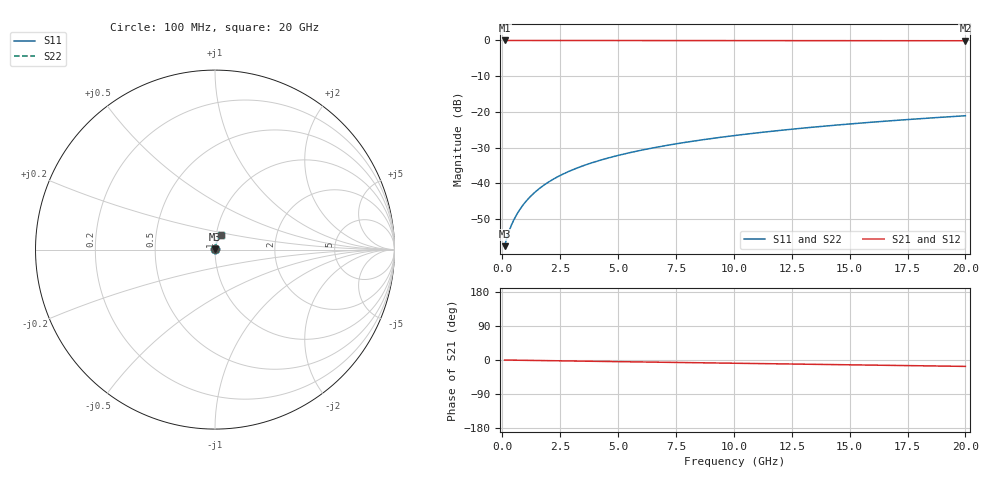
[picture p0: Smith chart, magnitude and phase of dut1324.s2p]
! Touchstone file exported from HFSS 2026.1.0
!  File:  C:/ffzhzh/LocalFiles/Ansys_Project_Files/temp_train_TMRDL_1324_1783165095_18472.aedt
!  Generated:  07:39:24 PM Jul  4, 2026
!  Design:  TMRDL
!  Project:  temp_train_TMRDL_1324_1783165095_18472
! Variables:
!  h_bsmrdl = 2um
!  h_ox = 20um
!  h_rdl = 5um
!  h_sub = 80um
!  h_tmrdl = 5.42um
!  h_tsv = 80um
!  h_via = 3um
!  l_bsmrdl = 300um
!  l_sub = 676.41um
!  l_tmrdl = 276.41um
!  m_sub = 200um
!  pitch = 28.52um
!  r_tsv = 6um
!  s_tmrdl = 10um
!  w_bsmrdl = 18um
!  w_sub = 500um
!  w_tmrdl = 18.24um
!  x_tsv_center1 = 285.53um
!  x_tsv_center2 = 603.53um
!  x_tsv_center3 = 898.18um
!  x_tsv_center4 = 1216.18um
!  x_tsv_center5 = 1510.83um
!  x_tsv_center6 = 1828.83um
# GHz S MA R 50.000000
! Terminal data exported
! Port[1] = TM_RDL1_1_T1
! Port[2] = TM_RDL1_1_T2
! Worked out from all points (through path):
!   200 points, 100 MHz to 20 GHz, reference 50 ohm
!   highest |S21| = -0.01 dB at 100 MHz (marker M1); lowest = -0.1 dB at 20 GHz (marker M2)
!   group delay of S21, straight-line fit = 2.33 ps
!   lowest |S11| = -57.6 dB at 100 MHz (marker M3), VSWR 1.00, Z = 50.1 + j0.0646 ohm
!   |S11| at or under -10 dB: start of sweep to end of sweep
!   |S22| runs from -57.6 to -21.1 dB; largest |S21 - S12| = 4.1e-15
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0.1  0.001314 29.4  0.9989 -0.1  0.9989 -0.1  0.001314 29.4
! Gamma 0 0 0 0
! Port Impedance 50 0 50 0
0.2  0.001737 44.2  0.9988 -0.2  0.9988 -0.2  0.001737 44.2
0.3  0.002178 52.3  0.9987 -0.3  0.9987 -0.3  0.002178 52.3
0.4  0.002621 57.9  0.9986 -0.4  0.9986 -0.4  0.002621 57.9
0.5  0.003073 62.1  0.9986 -0.5  0.9986 -0.5  0.003073 62.1
0.6  0.003536 65.3  0.9985 -0.5  0.9985 -0.5  0.003536 65.3
0.8  0.004488 69.7  0.9985 -0.7  0.9985 -0.7  0.004488 69.7
1  0.005461 72.5  0.9984 -0.9  0.9984 -0.9  0.005461 72.5
1.2  0.006445 74.4  0.9983 -1.1  0.9983 -1.1  0.006445 74.4
1.4  0.007435 75.7  0.9983 -1.2  0.9983 -1.2  0.007435 75.7
1.7  0.00892 77.0  0.9982 -1.5  0.9982 -1.5  0.00892 77.0
2.2  0.01138 78.0  0.9979 -1.9  0.9979 -1.9  0.01138 78.0
2.8  0.01429 78.5  0.9976 -2.5  0.9976 -2.5  0.01429 78.5
3.5  0.01761 78.5  0.9973 -3.1  0.9973 -3.1  0.01761 78.5
4.2  0.02086 78.4  0.9969 -3.7  0.9969 -3.7  0.02086 78.4
5  0.02451 78.1  0.9965 -4.3  0.9965 -4.3  0.02451 78.1
6.8  0.03253 77.2  0.9955 -5.9  0.9955 -5.9  0.03253 77.2
8.3  0.03908 76.4  0.9948 -7.1  0.9948 -7.1  0.03908 76.4
10.1  0.04685 75.4  0.994 -8.6  0.994 -8.6  0.04685 75.4
13.4  0.06088 73.3  0.9924 -11.4  0.9924 -11.4  0.06089 73.3
16.7  0.07465 71.0  0.9908 -14.1  0.9908 -14.1  0.07465 71.0
20  0.08813 68.6  0.9891 -16.9  0.9891 -16.9  0.08813 68.6
